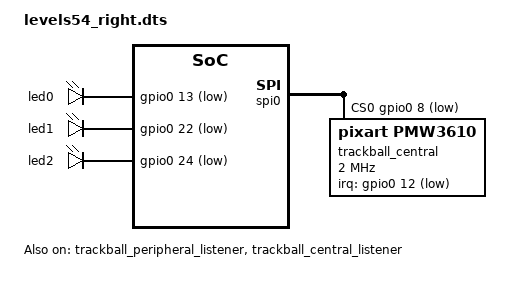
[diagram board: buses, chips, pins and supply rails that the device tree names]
/*
 * Copyright (c) 2025 Vincent Franco
 * SPDX-License-Identifier: MIT
 */

#include "levels54.dts"
#include <zephyr/dt-bindings/input/input-event-codes.h>
#include <input/processors/report_rate_limit.dtsi>
#include <behaviors/rate_limit.dtsi>

/ {
  chosen {
    model = "levels54_right";
    compatible = "levels54_right";
  };

  aliases {
    led-red = &led0;
    led-green = &led1;
    led-blue = &led2;
  };

  leds {
    compatible = "gpio-leds";
    status = "okay";
    led0: led_0 {
      gpios = <&gpio0 13 GPIO_ACTIVE_LOW>;
    };
    led1: led_1 {
      gpios = <&gpio0 22 GPIO_ACTIVE_LOW>;
    };
    led2: led_2 {
      gpios = <&gpio0 24 GPIO_ACTIVE_LOW>;
    };
  };
};

// Offset right side
&matrix_transform0 {
  col-offset = <6>;
};

&kscan0 {
  compatible = "zmk,kscan-gpio-matrix";

  row-gpios
    = <&gpio0 31 (GPIO_ACTIVE_HIGH | GPIO_PULL_DOWN)>
    , <&gpio0 2 (GPIO_ACTIVE_HIGH | GPIO_PULL_DOWN)>
    , <&gpio1 0 (GPIO_ACTIVE_HIGH | GPIO_PULL_DOWN)>
    , <&gpio1 2 (GPIO_ACTIVE_HIGH | GPIO_PULL_DOWN)>
    , <&gpio1 13 (GPIO_ACTIVE_HIGH | GPIO_PULL_DOWN)>
    ;

  col-gpios
    = <&gpio0 29 GPIO_ACTIVE_HIGH>
    , <&gpio1 4 GPIO_ACTIVE_HIGH>
    , <&gpio1 11 GPIO_ACTIVE_HIGH>
    , <&gpio0 28 GPIO_ACTIVE_HIGH>
    , <&gpio0 3 GPIO_ACTIVE_HIGH>
    , <&gpio1 10 GPIO_ACTIVE_HIGH>
    ;
};

&trackball_peripheral_listener {
    status = "okay";
};

&spi0 {
    cs-gpios = <&gpio0 8 GPIO_ACTIVE_LOW>;

    trackball_central: trackball_central@0 {
        status = "okay";
        compatible = "pixart,pmw3610";
        reg = <0>;
        spi-max-frequency = <2000000>;
        irq-gpios = <&gpio0 12 (GPIO_ACTIVE_LOW | GPIO_PULL_UP)>;
        cpi = <1100>;
        evt-type = <INPUT_EV_REL>;
        x-input-code = <INPUT_REL_X>;
        y-input-code = <INPUT_REL_Y>;
        x-invert;
        y-invert;
        xy-swap;
        force-awake;
        /* keep the sensor awake while ZMK activity state is ACTIVE,
           fallback to normal downshift mode after ZMK goes into IDLE / SLEEP mode.
           thus, the sensor would be a `wakeup-source` */
    };
};

// Overrides for the input listener node
&trackball_central_listener {
    status = "okay";
    device = <&trackball_central>;
    input-processors = <&zip_ble_report_rate_limit>;
};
